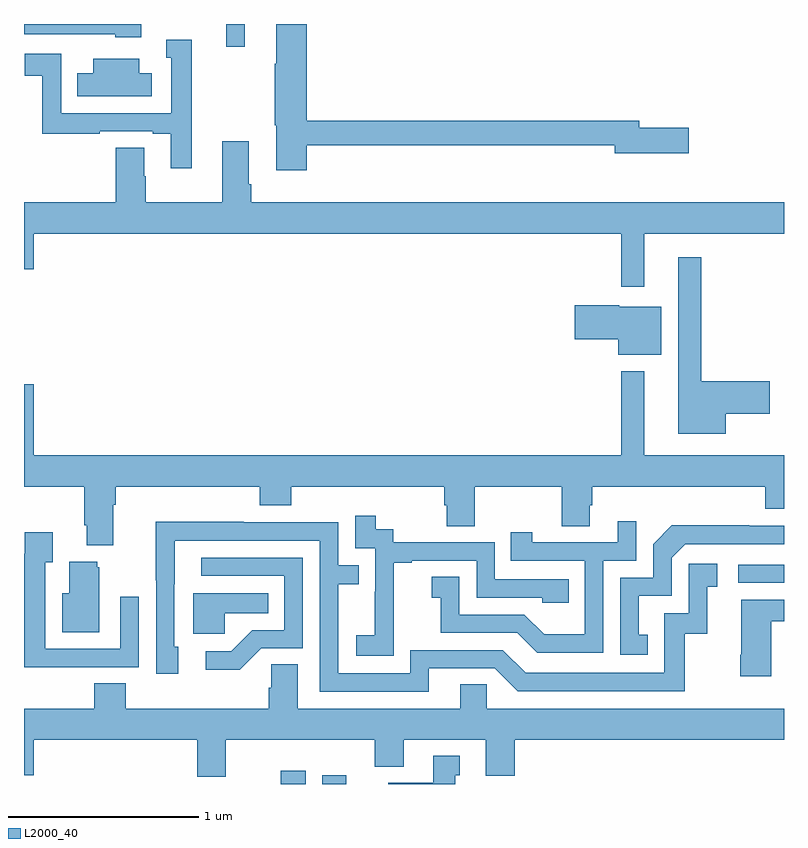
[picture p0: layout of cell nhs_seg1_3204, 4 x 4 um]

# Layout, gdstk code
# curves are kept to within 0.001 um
import gdstk
lib = gdstk.Library(unit=1e-6, precision=1e-09)
def R(c, l, rs):  # rectangles x0, y0, x1, y1
    for r in rs: c.add(gdstk.rectangle(r[:2], r[2:], *l))
def P(c, l, *ps):  # polygons
    for p in ps: c.add(gdstk.Polygon(p, *l))
L2000_40 = (2000, 40)

nhs_seg1_3204 = lib.new_cell('nhs_seg1_3204')
R(nhs_seg1_3204, L2000_40, [(286.352,518.199,286.483,518.269), (286.571,518.199,286.696,518.245), (288.759,519.258,289,519.354), (286.065,522.078,286.162,522.199)])
P(nhs_seg1_3204, L2000_40, [(286.487,521.562),(288.11,521.562),(288.11,521.519),(288.499,521.519),(288.499,521.654),(288.238,521.654),(288.238,521.69),(286.487,521.69),(286.487,522.199),(286.328,522.199),(286.328,521.99),(286.321,521.99),(286.321,521.667),(286.328,521.667),(286.328,521.43),(286.487,521.43)],
  [(285.616,522.199),(285,522.199),(285,522.144),(285.48,522.144),(285.48,522.128),(285.616,522.128)],
  [(285.883,522.115),(285.749,522.115),(285.749,522.021),(285.774,522.021),(285.774,521.73),(285.195,521.73),(285.195,522.042),(285.003,522.042),(285.003,521.926),(285.097,521.926),(285.097,521.621),(285.398,521.621),(285.398,521.634),(285.677,521.634),(285.677,521.621),(285.773,521.621),(285.773,521.439),(285.883,521.439)],
  [(285.673,521.941),(285.607,521.941),(285.607,522.016),(285.365,522.016),(285.365,521.941),(285.28,521.941),(285.28,521.819),(285.673,521.819)],
  [(288.265,521.096),(289,521.096),(289,521.26),(286.196,521.26),(286.196,521.356),(286.183,521.356),(286.183,521.581),(286.043,521.581),(286.043,521.26),(285.642,521.26),(285.642,521.399),(285.634,521.399),(285.634,521.549),(285.482,521.549),(285.482,521.26),(285,521.26),(285,520.908),(285.052,520.908),(285.052,521.096),(288.144,521.096),(288.144,520.815),(288.265,520.815)],
  [(288.694,520.148),(288.925,520.148),(288.925,520.319),(288.565,520.319),(288.565,520.972),(288.443,520.972),(288.443,520.043),(288.694,520.043)],
  [(288.355,520.711),(288.132,520.711),(288.132,520.719),(287.898,520.719),(287.898,520.541),(288.128,520.541),(288.128,520.457),(288.355,520.457)],
  [(285.469,519.668),(285.482,519.668),(285.482,519.764),(286.241,519.764),(286.241,519.665),(286.406,519.665),(286.406,519.764),(287.213,519.764),(287.213,519.666),(287.225,519.666),(287.225,519.556),(287.373,519.556),(287.373,519.764),(287.83,519.764),(287.83,519.556),(287.977,519.556),(287.977,519.666),(287.99,519.666),(287.99,519.764),(288.902,519.764),(288.902,519.647),(289,519.647),(289,519.928),(288.265,519.928),(288.265,520.372),(288.144,520.372),(288.144,519.928),(285.052,519.928),(285.052,520.303),(285,520.303),(285,519.764),(285.317,519.764),(285.317,519.562),(285.329,519.562),(285.329,519.455),(285.469,519.455)],
  [(286.947,519.079),(286.946,519.079),(286.946,519.363),(287.041,519.363),(287.041,519.375),(287.382,519.375),(287.382,519.18),(287.727,519.18),(287.727,519.153),(287.867,519.153),(287.867,519.276),(287.478,519.276),(287.478,519.471),(286.944,519.471),(286.944,519.54),(286.852,519.54),(286.852,519.61),(286.743,519.61),(286.743,519.441),(286.848,519.441),(286.848,519.212),(286.847,519.212),(286.847,518.983),(286.749,518.983),(286.749,518.873),(286.947,518.873)],
  [(288.048,519.375),(288.222,519.375),(288.222,519.583),(288.125,519.583),(288.125,519.471),(287.674,519.471),(287.674,519.523),(287.563,519.523),(287.563,519.375),(287.952,519.375),(287.952,518.986),(287.738,518.986),(287.634,519.09),(287.292,519.09),(287.292,519.289),(287.145,519.289),(287.145,519.179),(287.194,519.179),(287.194,518.994),(287.597,518.994),(287.702,518.889),(288.048,518.889)],
  [(287.131,518.808),(287.478,518.808),(287.598,518.688),(288.478,518.688),(288.478,518.991),(288.596,518.991),(288.596,519.237),(288.649,519.237),(288.649,519.358),(288.498,519.358),(288.498,519.099),(288.369,519.099),(288.369,518.784),(287.64,518.784),(287.52,518.904),(287.034,518.904),(287.034,518.781),(286.653,518.781),(286.653,519.25),(286.763,519.25),(286.763,519.351),(286.653,519.351),(286.653,519.576),(286.157,519.576),(286.157,519.578),(285.694,519.578),(285.694,519.271),(285.696,519.271),(285.696,518.778),(285.811,518.778),(285.811,518.922),(285.792,518.922),(285.793,519.48),(286.557,519.48),(286.557,518.685),(287.131,518.685)],
  [(288.284,518.985),(288.235,518.985),(288.235,519.189),(288.408,519.189),(288.408,519.39),(288.48,519.462),(289,519.462),(289,519.558),(288.818,519.558),(288.818,519.56),(288.41,519.56),(288.312,519.462),(288.312,519.285),(288.138,519.285),(288.138,518.88),(288.284,518.88)],
  [(285.287,518.814),(285.603,518.814),(285.603,519.184),(285.507,519.184),(285.507,518.91),(285.111,518.91),(285.111,519.367),(285.151,519.367),(285.151,519.523),(285.003,519.523),(285.003,519.41),(285,519.41),(285,518.813),(285.287,518.813)],
  [(286.248,518.913),(286.467,518.913),(286.467,519.39),(285.933,519.39),(285.933,519.294),(286.371,519.294),(286.371,519.009),(286.202,519.009),(286.091,518.898),(285.957,518.898),(285.957,518.801),(286.135,518.801)],
  [(285.397,519.339),(285.386,519.339),(285.386,519.37),(285.239,519.37),(285.239,519.202),(285.2,519.202),(285.2,518.999),(285.397,518.999)],
  [(286.056,519.098),(286.286,519.098),(286.286,519.202),(285.89,519.202),(285.89,518.99),(286.056,518.99)],
  [(288.934,519.055),(289,519.055),(289,519.169),(288.776,519.169),(288.776,518.878),(288.769,518.878),(288.769,518.766),(288.934,518.766)],
  [(287.297,518.723),(287.297,518.596),(286.441,518.596),(286.441,518.828),(286.302,518.828),(286.302,518.705),(286.289,518.705),(286.289,518.596),(285.536,518.596),(285.536,518.729),(285.371,518.729),(285.371,518.596),(285,518.596),(285,518.244),(285.052,518.244),(285.052,518.432),(285.911,518.432),(285.911,518.238),(286.063,518.238),(286.063,518.432),(286.847,518.432),(286.847,518.291),(286.999,518.291),(286.999,518.432),(287.429,518.432),(287.429,518.243),(287.582,518.243),(287.582,518.432),(289,518.432),(289,518.596),(287.436,518.596),(287.436,518.723)],
  [(287.269,518.244),(287.293,518.244),(287.293,518.347),(287.153,518.347),(287.153,518.206),(286.918,518.206),(286.918,518.199),(287.269,518.199)])

lib.write_gds('nhs_seg1_3204.gds')
